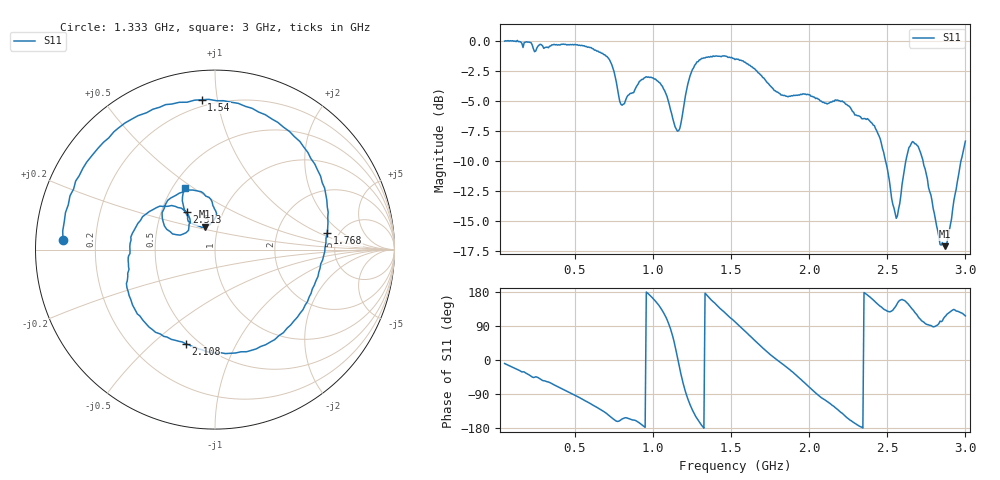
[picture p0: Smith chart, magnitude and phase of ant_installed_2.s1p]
! nanovna_capture.py 2026-11-02T23:12:38+0900
! NanoVNA-F_V2 fw 0.6.0 SN 4A3639384505514B
! cal: load open short cal'ed  over 50000000-3000000000 Hz, 201 points
! points 401, avg 4
! implant antenna installed (battery, board), repeat 2, untouched
# HZ S RI R 50
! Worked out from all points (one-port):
!   401 points, 50 MHz to 3 GHz, reference 50 ohm
!   lowest |S11| = -17.1 dB at 2.867 GHz (marker M1), VSWR 1.32, Z = 43.3 + j11.3 ohm
!   |S11| at or under -10 dB: 2.489 GHz to 2.619 GHz (130 MHz wide, 5.09 % of centre); 2.729 GHz to 2.972 GHz (243 MHz wide, 8.53 % of centre)
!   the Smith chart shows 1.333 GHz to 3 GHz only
!   S11 on the Smith chart (normalised r, x): 1.333 GHz: 0.08, +0.03; 1.54 GHz: 0.16, +0.90; 1.768 GHz: 4.04, +1.24; 2.108 GHz: 0.43, -0.64; 2.513 GHz: 0.67, +0.30; 3 GHz: 0.58, +0.46
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5e7  0.9845 -0.1611
4.1875e8  0.2271 -0.9402
5.58875e8  -0.2624 -0.9171
6.99e8  -0.6619 -0.5561
7.875e8  -0.5251 -0.1909
8.98125e8  -0.6195 -0.2017
1.00875e9  -0.6452 0.2529
1.09725e9  -0.0894 0.5573
1.15625e9  0.4172 0.0535
1.2005e9  0.159 -0.5292
1.23e9  -0.2391 -0.6427
1.281625e9  -0.7359 -0.3568
1.33325e9  -0.8468 0.0525
1.4365e9  -0.5924 0.6219
1.525e9  -0.1556 0.8211
1.53975e9  -0.0739 0.8348
1.665125e9  0.5173 0.5415
1.768375e9  0.6255 0.0921
1.89375e9  0.5025 -0.3088
1.997e9  0.2016 -0.5616
2.107625e9  -0.1635 -0.5252
2.2625e9  -0.4935 -0.1889
2.51325e9  -0.1581 0.209
2.564875e9  -0.1615 0.0938
2.63125e9  -0.2939 0.1773
2.712375e9  -0.1018 0.3276
2.86725e9  -0.056 0.1279
3e9  -0.1693 0.3425
